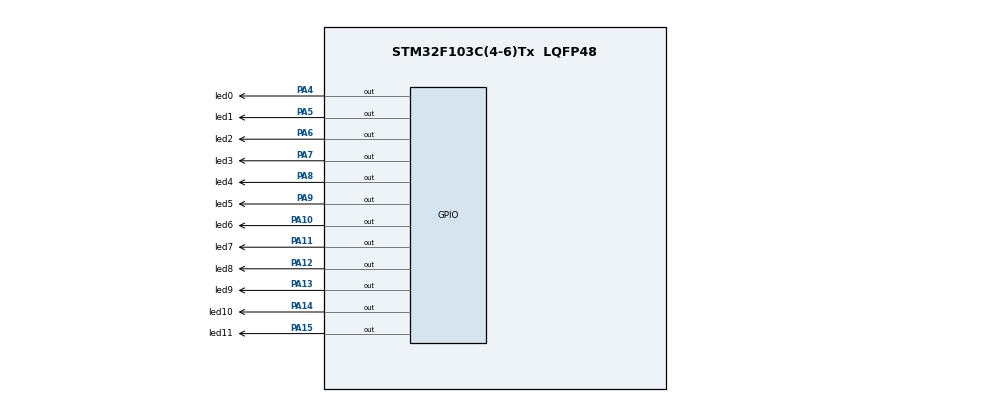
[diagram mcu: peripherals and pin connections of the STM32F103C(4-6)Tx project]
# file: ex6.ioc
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Mcu.Family=STM32F1
Mcu.Name=STM32F103C(4-6)Tx
Mcu.Package=LQFP48
NVIC.PriorityGroup=NVIC_PRIORITYGROUP_4
PA10.GPIO_Label=led6
PA10.Signal=GPIO_Output
PA11.GPIO_Label=led7
PA11.Signal=GPIO_Output
PA12.GPIO_Label=led8
PA12.Signal=GPIO_Output
PA13.GPIO_Label=led9
PA13.Signal=GPIO_Output
PA14.GPIO_Label=led10
PA14.Signal=GPIO_Output
PA15.GPIO_Label=led11
PA15.Signal=GPIO_Output
PA4.GPIO_Label=led0
PA4.Signal=GPIO_Output
PA5.GPIO_Label=led1
PA5.Signal=GPIO_Output
PA6.GPIO_Label=led2
PA6.Signal=GPIO_Output
PA7.GPIO_Label=led3
PA7.Signal=GPIO_Output
PA8.GPIO_Label=led4
PA8.Signal=GPIO_Output
PA9.GPIO_Label=led5
PA9.Signal=GPIO_Output
ProjectManager.HeapSize=0x200
ProjectManager.StackSize=0x400
ProjectManager.TargetToolchain=STM32CubeIDE
RCC.APB1Freq_Value=8000000
RCC.APB2Freq_Value=8000000
VP_SYS_VS_ND.Mode=No_Debug
board=custom

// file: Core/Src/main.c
/* USER CODE BEGIN Header */
/**
  ******************************************************************************
  * @file           : main.c
  * @brief          : Main program body
  ******************************************************************************
  * @attention
  *
  * <h2><center>&copy; Copyright (c) 2022 STMicroelectronics.
  * All rights reserved.</center></h2>
  *
  * This software component is licensed by ST under BSD 3-Clause license,
  * the "License"; You may not use this file except in compliance with the
  * License. You may obtain a copy of the License at:
  *                        opensource.org/licenses/BSD-3-Clause
  *
  ******************************************************************************
  */
/* USER CODE END Header */
#include "main.h"

void SystemClock_Config(void);
static void MX_GPIO_Init(void);

int main(void)
{

  /* MCU Configuration--------------------------------------------------------*/

  /* Reset of all peripherals, Initializes the Flash interface and the Systick. */
  HAL_Init();

  /* Configure the system clock */
  SystemClock_Config();

  /* Initialize all configured peripherals */
  MX_GPIO_Init();

  /* Infinite loop */
  /* USER CODE BEGIN WHILE */
  int count = 0;
  while (1)
  {
    /* USER CODE END WHILE */

    /* USER CODE BEGIN 3 */
	  if(count == 0) HAL_GPIO_WritePin(led0_GPIO_Port, led0_Pin, GPIO_PIN_SET);
	  if(count == 1) HAL_GPIO_WritePin(led1_GPIO_Port, led1_Pin, GPIO_PIN_SET);
	  if(count == 2) HAL_GPIO_WritePin(led2_GPIO_Port, led2_Pin, GPIO_PIN_SET);
	  if(count == 3) HAL_GPIO_WritePin(led3_GPIO_Port, led3_Pin, GPIO_PIN_SET);
	  if(count == 4) HAL_GPIO_WritePin(led4_GPIO_Port, led4_Pin, GPIO_PIN_SET);
	  if(count == 5) HAL_GPIO_WritePin(led5_GPIO_Port, led5_Pin, GPIO_PIN_SET);
	  if(count == 6) HAL_GPIO_WritePin(led6_GPIO_Port, led6_Pin, GPIO_PIN_SET);
	  if(count == 7) HAL_GPIO_WritePin(led7_GPIO_Port, led7_Pin, GPIO_PIN_SET);
	  if(count == 8) HAL_GPIO_WritePin(led8_GPIO_Port, led8_Pin, GPIO_PIN_SET);
	  if(count == 9) HAL_GPIO_WritePin(led9_GPIO_Port, led9_Pin, GPIO_PIN_SET);
	  if(count == 10) HAL_GPIO_WritePin(led10_GPIO_Port, led10_Pin, GPIO_PIN_SET);
	  if(count == 11) HAL_GPIO_WritePin(led11_GPIO_Port, led11_Pin, GPIO_PIN_SET);

	  if(count == 12)// turn off all led
	  {
		  HAL_GPIO_WritePin(led0_GPIO_Port, led0_Pin, GPIO_PIN_RESET);
		  HAL_GPIO_WritePin(led1_GPIO_Port, led1_Pin, GPIO_PIN_RESET);
		  HAL_GPIO_WritePin(led2_GPIO_Port, led2_Pin, GPIO_PIN_RESET);
		  HAL_GPIO_WritePin(led3_GPIO_Port, led3_Pin, GPIO_PIN_RESET);
		  HAL_GPIO_WritePin(led4_GPIO_Port, led4_Pin, GPIO_PIN_RESET);
		  HAL_GPIO_WritePin(led5_GPIO_Port, led5_Pin, GPIO_PIN_RESET);
		  HAL_GPIO_WritePin(led6_GPIO_Port, led6_Pin, GPIO_PIN_RESET);
		  HAL_GPIO_WritePin(led7_GPIO_Port, led7_Pin, GPIO_PIN_RESET);
		  HAL_GPIO_WritePin(led8_GPIO_Port, led8_Pin, GPIO_PIN_RESET);
		  HAL_GPIO_WritePin(led9_GPIO_Port, led9_Pin, GPIO_PIN_RESET);
		  HAL_GPIO_WritePin(led10_GPIO_Port, led10_Pin, GPIO_PIN_RESET);
		  HAL_GPIO_WritePin(led11_GPIO_Port, led11_Pin, GPIO_PIN_RESET);
		  count = 0;
	  }

	  count ++; // update count

	  HAL_Delay(500);

  }
  /* USER CODE END 3 */
}

void SystemClock_Config(void)
{
  RCC_OscInitTypeDef RCC_OscInitStruct = {0};
  RCC_ClkInitTypeDef RCC_ClkInitStruct = {0};

  /** Initializes the RCC Oscillators according to the specified parameters
  * in the RCC_OscInitTypeDef structure.
  */
  RCC_OscInitStruct.OscillatorType = RCC_OSCILLATORTYPE_HSI;
  RCC_OscInitStruct.HSIState = RCC_HSI_ON;
  RCC_OscInitStruct.HSICalibrationValue = RCC_HSICALIBRATION_DEFAULT;
  RCC_OscInitStruct.PLL.PLLState = RCC_PLL_NONE;
  if (HAL_RCC_OscConfig(&RCC_OscInitStruct) != HAL_OK)
  {
    Error_Handler();
  }
  /** Initializes the CPU, AHB and APB buses clocks
  */
  RCC_ClkInitStruct.ClockType = RCC_CLOCKTYPE_HCLK|RCC_CLOCKTYPE_SYSCLK
                              |RCC_CLOCKTYPE_PCLK1|RCC_CLOCKTYPE_PCLK2;
  RCC_ClkInitStruct.SYSCLKSource = RCC_SYSCLKSOURCE_HSI;
  RCC_ClkInitStruct.AHBCLKDivider = RCC_SYSCLK_DIV1;
  RCC_ClkInitStruct.APB1CLKDivider = RCC_HCLK_DIV1;
  RCC_ClkInitStruct.APB2CLKDivider = RCC_HCLK_DIV1;

  if (HAL_RCC_ClockConfig(&RCC_ClkInitStruct, FLASH_LATENCY_0) != HAL_OK)
  {
    Error_Handler();
  }
}

static void MX_GPIO_Init(void)
{
  GPIO_InitTypeDef GPIO_InitStruct = {0};

  /* GPIO Ports Clock Enable */
  __HAL_RCC_GPIOA_CLK_ENABLE();

  /*Configure GPIO pin Output Level */
  HAL_GPIO_WritePin(GPIOA, led0_Pin|led1_Pin|led2_Pin|led3_Pin
                          |led4_Pin|led5_Pin|led6_Pin|led7_Pin
                          |led8_Pin|led9_Pin|led10_Pin|led11_Pin, GPIO_PIN_RESET);

  /*Configure GPIO pins : led0_Pin led1_Pin led2_Pin led3_Pin
                           led4_Pin led5_Pin led6_Pin led7_Pin
                           led8_Pin led9_Pin led10_Pin led11_Pin */
  GPIO_InitStruct.Pin = led0_Pin|led1_Pin|led2_Pin|led3_Pin
                          |led4_Pin|led5_Pin|led6_Pin|led7_Pin
                          |led8_Pin|led9_Pin|led10_Pin|led11_Pin;
  GPIO_InitStruct.Mode = GPIO_MODE_OUTPUT_PP;
  GPIO_InitStruct.Pull = GPIO_NOPULL;
  GPIO_InitStruct.Speed = GPIO_SPEED_FREQ_LOW;
  HAL_GPIO_Init(GPIOA, &GPIO_InitStruct);

}

void Error_Handler(void)
{
  __disable_irq();
  while (1)
  {
  }
}

/************************ (C) COPYRIGHT STMicroelectronics *****END OF FILE****/
